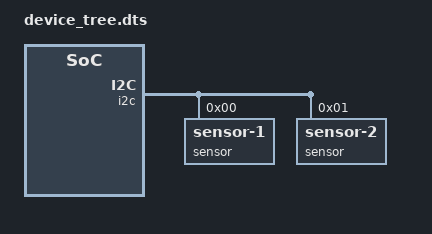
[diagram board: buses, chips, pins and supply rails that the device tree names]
/dts-v1/;

/ {


    my_demo {
        compatible = "test-123";

        led_1 {
            label = "led";
            gpio-led;
        };

        led_2 {
            label = "led";
            gpio-led;
        };
    };

    i2c {
        #address-cells = <1>;
        #size-cells = <0>;

        sensor@0 {
            compatible = "sensor-1";
            reg = <0>;
        };

        sensor@1 {
            compatible = "sensor-2";
            reg = <1>;
        };
    };
};
